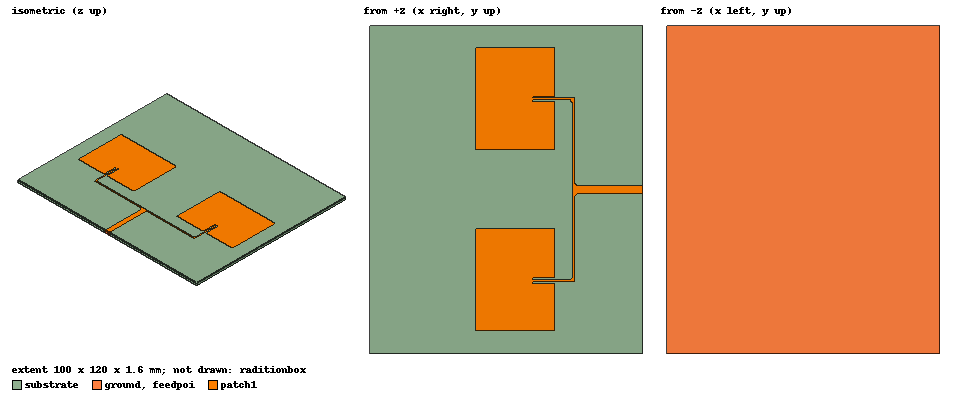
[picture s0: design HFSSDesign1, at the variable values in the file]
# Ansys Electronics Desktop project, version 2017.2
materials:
  vacuum: permittivity=1
  FR4_epoxy: permittivity=4.4 dielectric_loss_tangent=0.02
  air: permittivity=1.0006 permeability=1.0000004

design HFSSDesign1 (HFSS, DrivenModal, model units mm)
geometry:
  ground = rectangle(corner=(-50mm, -60mm, 0mm), x_size=100mm, y_size=120mm)
  substrate [FR4_epoxy] = box(corner=(-50mm, -60mm, 0mm), size=(100mm, 120mm, 1.6mm))
  50ohm = rectangle(corner=(50mm, -1.37mm, 1.6mm), x_size=-25mm, y_size=2.75mm)
  feedpoi = rectangle(corner=(50mm, -1.37mm, 1.6mm), y_size=2.75mm, z_size=-1.6mm)
  100ohm1 = rectangle(corner=(25mm, -1.37mm, 1.6mm), x_size=-0.7mm, y_size=-31.63mm)
  100ohm2 = rectangle(corner=(25mm, 1.38mm, 1.6mm), x_size=-0.7mm, y_size=31.405mm)
  junction = rectangle(corner=(24.3mm, -1.37mm, 1.6mm), x_size=0.7mm, y_size=2.75mm)
  100ohm11 = rectangle(corner=(25mm, -33mm, 1.6mm), x_size=-15.16mm, y_size=-0.7mm)
  patch1 = rectangle(corner=(17.84mm, -14.32mm, 1.6mm), x_size=-28.829mm, y_size=-37.26mm)
  cut = rectangle(corner=(17.84mm, -34.4mm, 1.6mm), x_size=-8mm, y_size=2.1mm)
  100ohm2_1 = rectangle(corner=(25mm, 32.785mm, 1.6mm), x_size=-15.16mm, y_size=0.7mm)
  patch2 = rectangle(corner=(-10.989mm, 14.52mm, 1.6mm), x_size=28.829mm, y_size=37.26mm)
  cut2 = rectangle(corner=(17.84mm, 32.085mm, 1.6mm), x_size=-8mm, y_size=2.1mm)
  raditionbox [air] = box(corner=(-90mm, -90mm, -50mm), size=(190mm, 190mm, 160mm))
  Polyline1 = polyline(z=1.6mm, xy in mm: (25, -2.5) (25, -1.37) (26.13, -1.37) (25, -2.5), closed, covered)
  Polyline2 = polyline(z=1.6mm, xy in mm: (25, 1.38) (25, 2.51) (26.13, 1.38) (25, 1.38), closed, covered)
  Polyline3 = polyline(z=1.6mm, xy in mm: (24.3, -31.9) (24.3, -33) (23.2, -33) (24.3, -31.9), closed, covered)
  Polyline5 = polyline(z=1.6mm, xy in mm: (24.3, 32.785) (24.3, 31.7) (23.4025, 32.785) (24.3, 32.785), closed, covered)
  Polyline6 = polyline(z=1.6mm, xy in mm: (25, -32.6) (25, -33.7) (23.9, -33.7) (25, -32.6), closed, covered)
  Polyline6_1 = Polyline6.copy()
  Polyline7 = polyline(z=1.6mm, xy in mm: (25, 32.5) (25, 33.5) (24, 33.5) (25, 32.5), closed, covered)
  Polyline7_1 = Polyline7.copy()
  patch2.subtract(cut2)
  patch1.subtract(cut)
  patch1.unite(100ohm11, Polyline3, Polyline6_1, 100ohm1, Polyline1, junction, 50ohm, Polyline2, 100ohm2, Polyline5, Polyline7_1, 100ohm2_1, patch2)
  patch1.unite(Polyline7)
  patch1.unite(Polyline6)
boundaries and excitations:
  Rad1: Radiation Objects=raditionbox
  PerfE1: Perfect E Objects=[patch1, ground]
  1: Lumped Port Objects=feedpoi Modes{Mode1{IntLine{feedpoi.edge(z opposite corner) at 0.538 along -> feedpoi.edge(z at corner) at 0.462 along} CharImp=Zpi RenormImp=50ohm}} Impedance=50ohm
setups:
  Setup1: HfssDriven Frequency=2.45GHz MaxDeltaS=0.02 MaximumPasses=20 MinimumPasses=1 MinimumConvergedPasses=1 PercentRefinement=30 BasisOrder=1 PortAccuracy=2 RayDensityPerWavelength=4 MaxNumberOfBounces=5 SkipSBRSolveDuringAdaptivePasses
    sweep Sweep: 2GHz to 3GHz step 0.02GHz; Type=Fast SaveFields
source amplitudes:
  1:1: 1W 0deg
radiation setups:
  Infinite Sphere1: Infinite Sphere Theta=0deg..360deg step 10deg Phi=0deg..180deg step 180deg
  Infinite Sphere2: Infinite Sphere Theta=0deg..360deg step 60deg Phi=0deg..180deg step 60deg
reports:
  Z Parameter Plot 1: re(Z(1,1)), im(Z(1,1)) vs Freq on Setup1 : Sweep; markers m1 at 2.4GHz, m2 at 2.4GHz
  S Parameter Plot 1: dB(S(1,1)) vs Freq on Setup1 : Sweep; markers m1 at 2.4GHz
  rE Plot 1: rETotal vs Phi, Theta on Setup1 : LastAdaptive, Infinite Sphere1 [Freq=2.45GHz]
  Directivity Plot 1: DirTotal vs Phi, Theta on Setup1 : LastAdaptive, Infinite Sphere1 [Freq=2.45GHz]
  System Gain Plot 1: SystemGainTotal vs Phi, Theta on Setup1 : LastAdaptive, Infinite Sphere1 [Freq=2.45GHz]
  VSWR Plot 1: VSWR(1) vs Freq on Setup1 : Sweep; markers m1 at 2.4GHz
